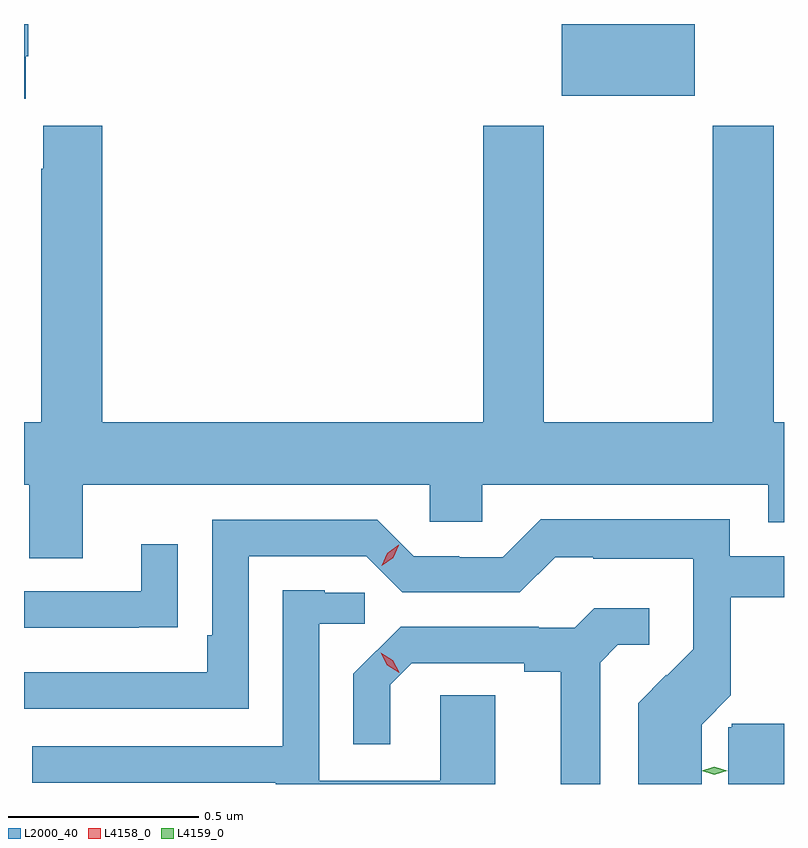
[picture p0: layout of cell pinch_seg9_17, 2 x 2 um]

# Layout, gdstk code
import gdstk
lib = gdstk.Library(unit=1e-6, precision=1e-09)
def R(c, l, rs):  # rectangles x0, y0, x1, y1
    for r in rs: c.add(gdstk.rectangle(r[:2], r[2:], *l))
def P(c, l, *ps):  # polygons
    for p in ps: c.add(gdstk.Polygon(p, *l))
L2000_40 = (2000, 40)
L4158_0 = (4158, 0)
L4159_0 = (4159, 0)

pinch_seg9_17 = lib.new_cell('pinch_seg9_17')
R(pinch_seg9_17, L2000_40, [(1146.602,1208.099,1146.952,1208.288)])
P(pinch_seg9_17, L2000_40, [(1145.191,1208.203),(1145.198,1208.203),(1145.198,1208.288),(1145.187,1208.288),(1145.187,1208.091),(1145.191,1208.091)],
  [(1145.341,1207.076),(1146.255,1207.076),(1146.255,1206.978),(1146.393,1206.978),(1146.393,1207.076),(1147.145,1207.076),(1147.145,1206.977),(1147.187,1206.977),(1147.187,1207.24),(1147.16,1207.24),(1147.16,1208.02),(1147,1208.02),(1147,1207.24),(1146.555,1207.24),(1146.555,1208.02),(1146.395,1208.02),(1146.395,1207.24),(1145.393,1207.24),(1145.393,1208.02),(1145.237,1208.02),(1145.237,1207.907),(1145.233,1207.907),(1145.233,1207.24),(1145.187,1207.24),(1145.187,1207.076),(1145.201,1207.076),(1145.201,1206.882),(1145.341,1206.882)],
  [(1146.97,1206.444),(1147.047,1206.521),(1147.047,1206.78),(1147.187,1206.78),(1147.187,1206.888),(1147.044,1206.888),(1147.044,1206.985),(1146.547,1206.985),(1146.447,1206.885),(1146.332,1206.885),(1146.332,1206.888),(1146.213,1206.888),(1146.117,1206.984),(1145.682,1206.984),(1145.682,1206.679),(1145.669,1206.679),(1145.669,1206.582),(1145.187,1206.582),(1145.187,1206.486),(1145.778,1206.486),(1145.778,1206.888),(1146.087,1206.888),(1146.183,1206.792),(1146.492,1206.792),(1146.585,1206.885),(1146.685,1206.885),(1146.685,1206.881),(1146.948,1206.881),(1146.948,1206.642),(1146.879,1206.573),(1146.877,1206.575),(1146.803,1206.501),(1146.803,1206.288),(1146.97,1206.288)],
  [(1145.489,1206.7),(1145.591,1206.7),(1145.591,1206.919),(1145.495,1206.919),(1145.495,1206.795),(1145.187,1206.795),(1145.187,1206.699),(1145.489,1206.699)],
  [(1146.427,1206.521),(1146.282,1206.521),(1146.282,1206.297),(1145.964,1206.297),(1145.964,1206.71),(1146.084,1206.71),(1146.084,1206.791),(1145.978,1206.791),(1145.978,1206.798),(1145.868,1206.798),(1145.868,1206.387),(1145.209,1206.387),(1145.209,1206.291),(1145.849,1206.291),(1145.849,1206.288),(1146.427,1206.288)],
  [(1146.703,1206.607),(1146.75,1206.654),(1146.832,1206.654),(1146.832,1206.751),(1146.688,1206.751),(1146.636,1206.699),(1146.542,1206.699),(1146.542,1206.702),(1146.178,1206.702),(1146.054,1206.578),(1146.054,1206.393),(1146.151,1206.393),(1146.151,1206.549),(1146.208,1206.606),(1146.503,1206.606),(1146.503,1206.584),(1146.599,1206.584),(1146.599,1206.288),(1146.703,1206.288)],
  [(1147.187,1206.446),(1147.05,1206.446),(1147.05,1206.438),(1147.04,1206.438),(1147.04,1206.288),(1147.187,1206.288)])
P(pinch_seg9_17, L4158_0, [(1146.174,1206.581),(1146.143,1206.601),(1146.126,1206.634),(1146.126,1206.634),(1146.126,1206.634),(1146.158,1206.614),(1146.175,1206.582),(1146.175,1206.581)],
  [(1146.128,1206.862),(1146.128,1206.862),(1146.143,1206.895),(1146.173,1206.917),(1146.173,1206.917),(1146.173,1206.916),(1146.159,1206.883),(1146.129,1206.862)])
P(pinch_seg9_17, L4159_0, [(1147.004,1206.313),(1146.971,1206.323),(1146.971,1206.323),(1146.971,1206.323),(1147.004,1206.333),(1147.037,1206.323),(1147.038,1206.323),(1147.037,1206.323)])

lib.write_gds('pinch_seg9_17.gds')
